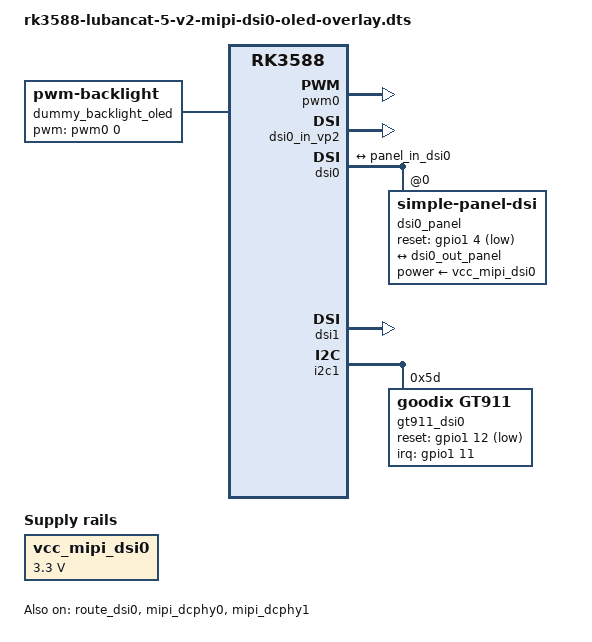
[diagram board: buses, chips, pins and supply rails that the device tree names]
// SPDX-License-Identifier: GPL-2.0+
/*
 * Device Tree Overlay for LubanCat 5 v2 (RK3588) MIPI DSI OLED Display
 *
 * Based on verified Android 12 DTS configuration
 * (rk3588-lubancat5-mipi-display.dts).
 *
 * Hardware:
 *   - Dual-channel MIPI DSI (dsi0 master + dsi1 slave), 8 lanes total
 *   - 2664x2880 OLED panel, 90Hz refresh
 *   - Brightness via DCS 0x51 (DCS_SET_DISPLAY_BRIGHTNESS)
 *   - RP2040 bridge board manages panel power/reset independently
 *   - RK3588 GPIOs for reset/power/backlight are physically unconnected
 *
 * BSP Driver Format:
 *   panel-init-sequence uses byte array with struct panel_cmd_header:
 *   [data_type:1] [delay:1] [payload_length:1] [payload:N]
 *   data_type values: 0x05=DCS_SHORT_WRITE, 0x15=DCS_SHORT_WRITE_PARAM,
 *   0x39=DCS_LONG_WRITE, 0x0A=PICTURE_PARAMETER_SET (DSC PPS)
 *
 * Important: The Android DTS uses 32-bit cell format <...> which is
 * NOT binary-compatible with the BSP driver's byte-level parser.
 * The init sequence below has been correctly translated to byte-array
 * format that matches the BSP panel_simple_parse_cmd_seq() function.
 */

/dts-v1/;
/plugin/;

/*
 * Literal GPIO values (no header includes needed):
 *   GPIO_ACTIVE_HIGH = 0, GPIO_ACTIVE_LOW = 1
 *   IRQ_TYPE_LEVEL_LOW = 8
 *   RK_PA4 = 1*32+4 = 36 (= gpio1 4)
 *   RK_PB3 = 1*32+11 = 43 (= gpio1 11)
 *   RK_PB4 = 1*32+12 = 44 (= gpio1 12)
 */

/ {
	compatible = "embedfire,rk3588-lubancat-5-v2", "rockchip,rk3588";
};

/* ===== Dummy always-on regulator =====
 * Panel power is managed by RP2040. This dummy regulator exists only
 * to satisfy panel-simple-dsi driver probe requirements.
 */
&{/} {
	vcc_mipi_dsi0: mipi-dsi0-power-regulator {
		compatible = "regulator-fixed";
		regulator-name = "mipi_dsi0_power";
		regulator-min-microvolt = <3300000>;
		regulator-max-microvolt = <3300000>;
		enable-active-high;
		regulator-boot-on;
		regulator-always-on;
		status = "okay";
	};

	dummy_backlight_oled: backlight-oled {
		compatible = "pwm-backlight";
		pwms = <&pwm0 0 25000 0>;
		brightness-levels = <0 255>;
		default-brightness-level = <255>;
		status = "okay";
	};
};

/* ===== PWM0 for dummy backlight ===== */
&pwm0 {
	pinctrl-0 = <&pwm0m0_pins>;
	status = "okay";
};

/* ===== VOP route: bind DSI0 to VP2, matching this SDK's DSI overlays ===== */
&route_dsi0 {
	status = "okay";
	connect = <&vp2_out_dsi0>;
};

&dsi0_in_vp2 {
	status = "okay";
};

/* ===== DSI0: Primary MIPI DSI controller with OLED panel ===== */
&dsi0 {
	status = "okay";
	rockchip,dual-channel = <&dsi1>;
	rockchip,lane-rate = <1250000>;	/* 1.25 Gbps/lane, matches Android */
	#address-cells = <1>;
	#size-cells = <0>;

	dsi0_panel: panel@0 {
		status = "okay";
		compatible = "simple-panel-dsi";
		reg = <0>;

		/* bpc fallback chain for BSP driver */
		bpc = <8>;
		bits-per-component = <8>;
		rockchip,bpc = <8>;

		/* Dummy power supply - RP2040 handles real power */
		power-supply = <&vcc_mipi_dsi0>;

		/*
		 * Dummy reset GPIO (gpio1 RK_PA4, active low).
		 * This pin is NOT physically connected to the panel.
		 * RP2040 handles the real reset. The driver requires
		 * reset-gpios to probe successfully.
		 */
		reset-gpios = <&gpio1 4 1>;	/* RK_PA4, ACTIVE_LOW */

		/* Timing delays - matched to Android DTS */
		enable-delay-ms = <35>;		/* Android: 0x23 */
		prepare-delay-ms = <6>;		/* Android: 0x06 */
		reset-delay-ms = <2000>;		/* Android: 0x0a */
		init-delay-ms = <3000>;		/* Android: 0xbb8 */
		unprepare-delay-ms = <0>;
		disable-delay-ms = <20>;	/* Android: 0x14 */

		size,width = <74>;		/* Android: 0x4a (74mm) */
		size,height = <133>;		/* Android: 0x85 (133mm) */

		dsi,flags = <0xc03>;		/* VIDEO|BURST|NON_CONTINUOUS|LPM|EOT */
		dsi,format = <0>;		/* MIPI_DSI_FMT_RGB888 */
		dsi,lanes = <8>;		/* 8 total lanes in dual-channel */

		/*
		 * Panel init sequence - translated from Android DTS to
		 * BSP byte-array format [data_type delay payload_length payload...]
		 *
		 * Sequence:
		 *   1. Page select (B0 00, FF xx) - switch register pages
		 *   2. B1 register config - panel timing parameters
		 *   3. CC register config - panel control settings
		 *   4. EC register config
		 *   5. Page restore (FF 00)
		 *   6. Address mode (36 02)
		 *   7. Brightness max (51 FF FF) - OLED DCS brightness
		 *   8. Register 65 = 90
		 *   9. DSC PPS (Picture Parameter Set) - 128 bytes
		 *   10. Page restore (FF 00, B0 00)
		 *   11. Sleep Out (11) - exit sleep mode
		 *   12. Display On (29) - turn on display
		 */
		panel-init-sequence = [
			/* Page select */
			39 00 02 B0 00
			39 00 02 FF 00
			/* B1 register - 28 bytes panel timing */
			39 00 1C B1 00 18 18 00 18 18 00 18 18 00 18 18 00 18 18 00 18 18 00 18 18 00 18 18 00 18 18
			/* Switch to page 1 */
			39 00 02 FF 01
			/* CC register - 37 bytes panel control */
			39 00 25 CC 8D E0 01 32 32 32 32 32 32 32 32 32 00 49 81 2C 00 40 00 08 0C 00 40 40 00 00 00 00 00 00 00 02 00 FF FF FF
			/* EC register */
			39 00 02 FF 01
			39 00 02 EC 20
			/* Back to page 0 */
			39 00 02 FF 00
			/* Address mode, brightness, register 65 */
			39 00 02 03 01
			39 00 02 36 02
			39 00 03 51 FF FF
			39 00 02 65 90
			/* DSC PPS - 128 bytes */
			39 00 02 FF 01
			0A 00 80
			12 00 00 AB 30 80 0B 40 0A 68 05 A0 02 9A 02 9A
			02 00 02 A1 00 20 85 EE 00 09 00 0F 00 16 00 0F
			18 00 10 F0 07 10 20 00 06 0F 0F 33 0E 1C 2A 38
			46 54 62 69 70 77 79 7B 7D 7E 02 02 22 00 2A 40
			2A BE 3A FC 3A FA 3A F8 3B 38 3B 78 3B B6 4B B6
			4B F4 4B F4 6C 34 84 74 00 00 00 00 00 00 00 00
			00 00 00 00 00 00 00 00 00 00 00 00 00 00 00 00
			00 00 00 00 00 00 00 00 00 00 00 00 00 00 00 00
			/* Restore page 0, set B0 */
			39 00 02 FF 00
			39 00 02 B0 00
			/* Sleep Out (DCS 0x11), 120ms delay */
			39 78 01 11
			/* Display On (DCS 0x29), no delay */
			39 00 01 29
		];

		panel-exit-sequence = [
			05 78 01 28	/* Display Off (DCS 0x28), 120ms delay */
			05 00 01 10	/* Sleep In (DCS 0x10), no delay */
		];

		compressed-data;
		slice-width = <666>;		/* Android: 0x29a */
		slice-height = <1440>;		/* Android: 0x5a0 */
		version-major = <1>;
		version-minor = <1>;

		display-timings {
			native-mode = <&dsi0_timing0>;

			dsi0_timing0: timing0 {
				/* Pixel clock: 855,638,528 Hz (Android: 0x33058600) */
				clock-frequency = <855638528>;
				hactive = <2664>;	/* Android: 0xa68 */
				vactive = <2880>;	/* Android: 0xb40 */
				hback-porch = <200>;	/* Android: 0xc8 */
				hfront-porch = <400>;	/* Android: 0x190 */
				hsync-len = <4>;
				vback-porch = <10>;	/* Android: 0x0a */
				vfront-porch = <30>;	/* Android: 0x1e */
				vsync-len = <1>;
				hsync-active = <0>;
				vsync-active = <0>;
				de-active = <0>;
				pixelclk-active = <0>;
			};
		};

		ports {
			#address-cells = <1>;
			#size-cells = <0>;

			port@0 {
				reg = <0>;
				panel_in_dsi0: endpoint {
					remote-endpoint = <&dsi0_out_panel>;
				};
			};
		};
	};

	ports {
		#address-cells = <1>;
		#size-cells = <0>;

		port@1 {
			reg = <1>;
			dsi0_out_panel: endpoint {
				remote-endpoint = <&panel_in_dsi0>;
			};
		};
	};
};

/* ===== DSI1: Secondary DSI for dual-channel mode ===== */
&dsi1 {
	status = "okay";
};

/* ===== D-PHY: MIPI physical layer ===== */
&mipi_dcphy0 {
	status = "okay";
};

&mipi_dcphy1 {
	status = "okay";
};

/* ===== Goodix GT911 Touch Controller on I2C1 ===== */
&i2c1 {
	status = "okay";
	#address-cells = <1>;
	#size-cells = <0>;
	pinctrl-names = "default";
	pinctrl-0 = <&i2c1m2_xfer>;

	gt911_dsi0: gt911@5d {
		status = "okay";
		compatible = "goodix,gt911";
		reg = <0x5d>;
		interrupt-parent = <&gpio1>;
		interrupts = <11 8>;			/* RK_PB3, IRQ_TYPE_LEVEL_LOW */
		reset-gpios = <&gpio1 12 1>;		/* RK_PB4, ACTIVE_LOW */
		irq-gpios = <&gpio1 11 0>;		/* RK_PB3, ACTIVE_HIGH */
		touchscreen-inverted-x = <1>;
		touchscreen-inverted-y = <1>;
	};
};
